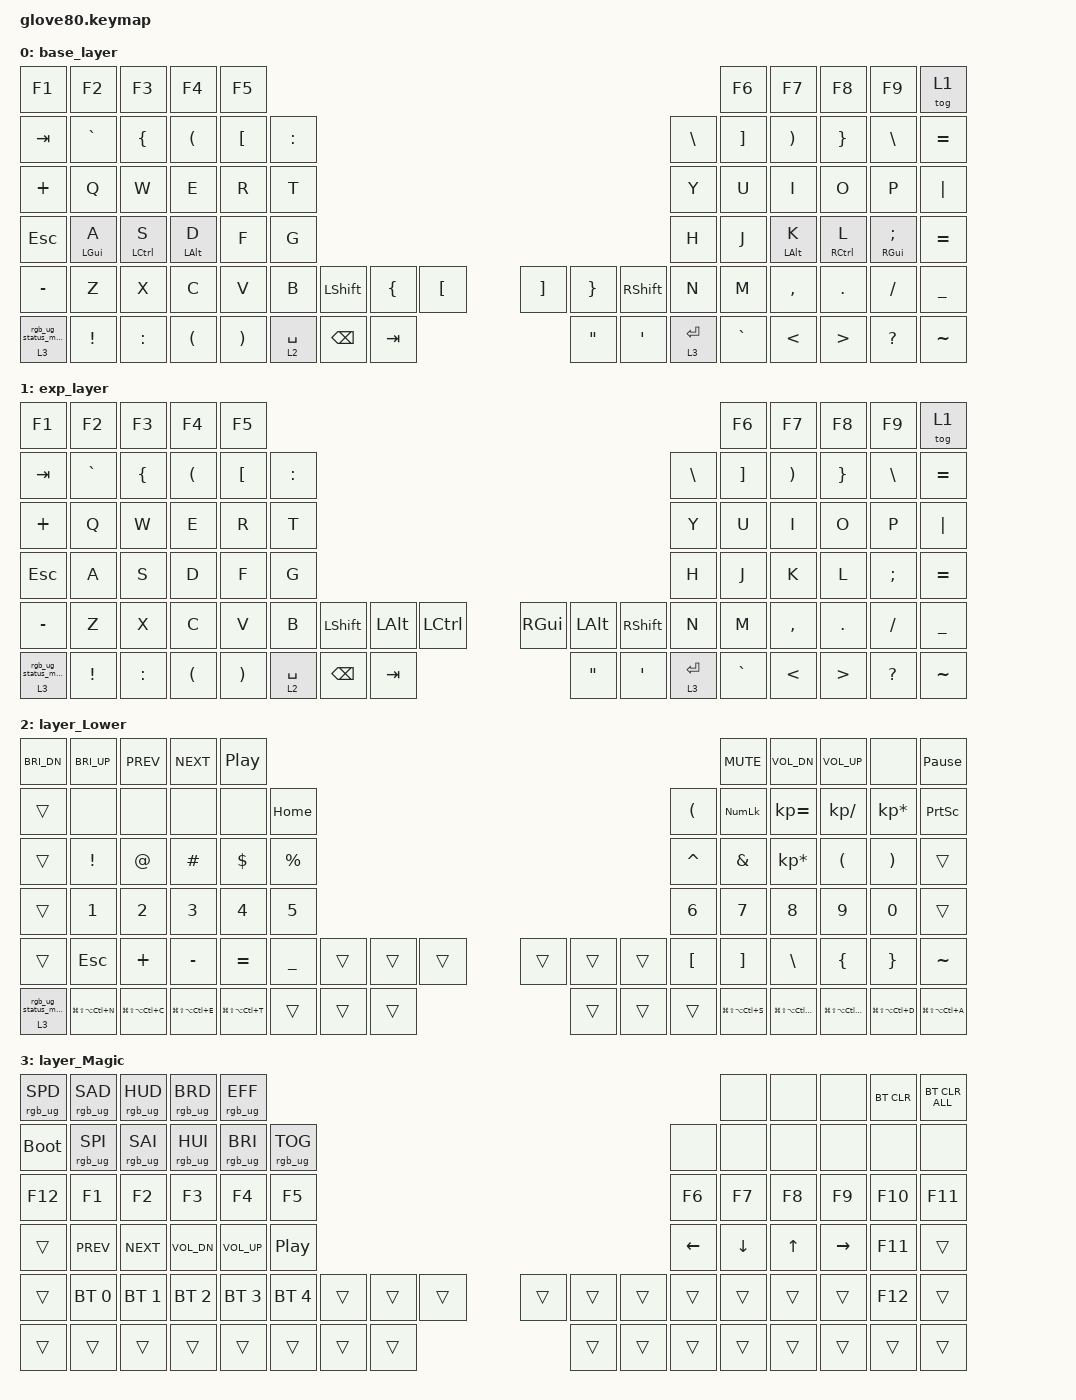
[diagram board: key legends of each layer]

/*
 * Copyright (c) 2020 The ZMK Contributors
 * Copyright (c) 2022 Innaworks Development Limited, trading as MoErgo
 *
 * SPDX-License-Identifier: MIT
 */


/* THIS FILE WAS GENERATED BY GLOVE80 LAYOUT EDITOR
 *
 * This file was generated automatically. You may or may not want to
 * edit it directly.
 */

#include <behaviors.dtsi>
/* Include all behaviour includes needed by system behaviors/macros */
#include <dt-bindings/zmk/outputs.h>

/* Include behaviour includes needed by key binds - automatically generated */
#include <dt-bindings/zmk/keys.h>
#include <dt-bindings/zmk/bt.h>
#include <dt-bindings/zmk/rgb.h>
#include <dt-bindings/zmk/outputs.h>


/ {
    /* Glove80 system behavior & macros */
    behaviors {
        // For the "layer" key, it'd nice to be able to use it as either a shift or a toggle.
        // Configure it as a tap dance, so the first tap (or hold) is a &mo and the second tap is a &to
        lower: tap_dance_0 {
            compatible = "zmk,behavior-tap-dance";
            label = "LAYER_TAP_DANCE";
            #binding-cells = <0>;
            tapping-term-ms = <200>;
            bindings = <&mo 1>, <&to 1>;
        };

        bhm: homerow_mods {
            compatible = "zmk,behavior-hold-tap";
            label = "HOMEROW_MODS";
            #binding-cells = <2>;
            tapping-term-ms = <170>;
            flavor = "tap-preferred";
            bindings = <&kp>, <&kp>;
        };

        shm: shift_hr_mod {
            compatible = "zmk,behavior-hold-tap";
            label = "SHIFT_HOMEROW_MODS";
            #binding-cells = <2>;
            tapping-term-ms = <120>;
            flavor = "tap-preferred";
            bindings = <&kp>, <&kp>;
        };
    };

    macros {
        rgb_ug_status_macro: rgb_ug_status_macro_0 {
            label = "RGB_UG_STATUS";
            compatible = "zmk,behavior-macro";
            #binding-cells = <0>;
            bindings
                = <&rgb_ug RGB_STATUS>;
        };
    };

    /* macros { */
    /*     bt_0: bt_profile_macro_0 { */
    /*         label = "BT_0"; */
    /*         compatible = "zmk,behavior-macro"; */
    /*         #binding-cells = <0>; */
    /*         bindings */
    /*             = <&out OUT_BLE>, */
    /*               <&bt BT_SEL 0>; */
    /*     }; */
    /* }; */

    /* macros { */
    /*     bt_1: bt_profile_macro_1 { */
    /*         label = "BT_1"; */
    /*         compatible = "zmk,behavior-macro"; */
    /*         #binding-cells = <0>; */
    /*         bindings */
    /*             = <&out OUT_BLE>, */
    /*               <&bt BT_SEL 1>; */
    /*     }; */
    /* }; */

    /* macros { */
    /*     bt_2: bt_profile_macro_2 { */
    /*         label = "BT_2"; */
    /*         compatible = "zmk,behavior-macro"; */
    /*         #binding-cells = <0>; */
    /*         bindings */
    /*             = <&out OUT_BLE>, */
    /*               <&bt BT_SEL 2>; */
    /*     }; */
    /* }; */

    /* macros { */
    /*     bt_3: bt_profile_macro_3 { */
    /*         label = "BT_3"; */
    /*         compatible = "zmk,behavior-macro"; */
    /*         #binding-cells = <0>; */
    /*         bindings */
    /*             = <&out OUT_BLE>, */
    /*               <&bt BT_SEL 3>; */
    /*     }; */
    /* }; */

    magic: magic_hold_tap {
        compatible = "zmk,behavior-hold-tap";
        label = "MAGIC_HOLD_TAP";
        #binding-cells = <2>;
        flavor = "tap-preferred";
        tapping-term-ms = <200>;
        bindings = <&mo>, <&rgb_ug_status_macro>;
    };

    /* Custom Defined Behaviors */


    /* Automatically generated keymap */
    keymap {
        compatible = "zmk,keymap";


        base_layer {
            bindings = <
     &kp F1    &kp F2   &kp F3    &kp F4     &kp F5                                                                                  &kp F6     &kp F7    &kp F8    &kp F9    &tog 1
  &kp TAB    &kp GRAVE   &kp LBRC    &kp LPAR     &kp LBKT  &kp COLON                                                                  &kp BSLH  &kp RBKT     &kp RPAR    &kp RBRC    &kp BSLH  &kp EQUAL
    &kp PLUS     &kp Q    &kp W     &kp E      &kp R   &kp T                                                                   &kp Y   &kp U      &kp I     &kp O     &kp P   &kp PIPE
    &kp ESC     &bhm LGUI A &bhm LCTRL S &bhm LALT D    &kp F &kp G                                                   &kp H &kp J  &bhm LALT K  &bhm RCTRL L  &bhm RGUI SEMI &kp EQUAL
  &kp MINUS     &kp Z    &kp X     &kp C      &kp V   &kp B  &kp LSHIFT  &kp LBRC    &kp LBKT  &kp RBKT  &kp RBRC  &kp RSHIFT   &kp N   &kp M  &kp COMMA   &kp DOT  &kp FSLH  &kp UNDER
 &magic 3 0  &kp EXCL  &kp COLON  &kp LPAR  &kp RPAR           &lt 2 SPACE &kp BSPC   &kp TAB   &kp DQT &kp SQT &lt 3 ENTER          &kp GRAVE &kp LT &kp GT &kp QMARK &kp TILDE
            >;
        };

        exp_layer {
            bindings = <
                &kp F1    &kp F2   &kp F3    &kp F4     &kp F5                                                                                  &kp F6     &kp F7    &kp F8    &kp F9    &tog 1
  &kp TAB    &kp GRAVE   &kp LBRC    &kp LPAR     &kp LBKT  &kp COLON                                                                  &kp BSLH  &kp RBKT     &kp RPAR    &kp RBRC    &kp BSLH  &kp EQUAL
    &kp PLUS     &kp Q    &kp W     &kp E      &kp R   &kp T                                                                   &kp Y   &kp U      &kp I     &kp O     &kp P   &kp PIPE
    &kp ESC     &kp A &kp S &kp D    &kp F &kp G                                                   &kp H &kp J  &kp K  &kp L  &kp SEMI &kp EQUAL
  &kp MINUS     &kp Z    &kp X     &kp C      &kp V   &kp B  &kp LSHIFT  &kp LALT    &kp LCTRL  &kp RGUI  &kp LALT  &kp RSHIFT   &kp N   &kp M  &kp COMMA   &kp DOT  &kp FSLH  &kp UNDER
 &magic 3 0  &kp EXCL  &kp COLON  &kp LPAR  &kp RPAR           &lt 2 SPACE &kp BSPC   &kp TAB   &kp DQT &kp SQT &lt 3 ENTER          &kp GRAVE &kp LT &kp GT &kp QMARK &kp TILDE
            >;
        };

        layer_Lower {
            bindings = <
 &kp C_BRI_DN  &kp C_BRI_UP      &kp C_PREV      &kp C_NEXT         &kp C_PP                                                                                    &kp C_MUTE  &kp C_VOL_DN  &kp C_VOL_UP            &none  &kp PAUSE_BREAK
       &trans         &none           &none           &none            &none   &kp HOME                                                   &kp LEFT_PARENTHESIS  &kp KP_NUM  &kp KP_EQUAL  &kp KP_SLASH  &kp KP_MULTIPLY  &kp PRINTSCREEN
       &trans         &kp EXCL        &kp AT          &kp HASH        &kp DLLR &kp PRCNT                                                  &kp CARET &kp AMPS  &kp KP_MULTIPLY &kp LPAR &kp RPAR &trans
       &trans  &kp N1   &kp N2 &kp N3   &kp N4   &kp N5                                                                                    &kp N6 &kp N7 &kp N8  &kp N9 &kp N0 &trans
       &trans  &kp ESC   &kp PLUS &kp MINUS   &kp EQUAL   &kp UNDER  &trans  &trans   &trans  &trans  &trans  &trans              &kp LBKT &kp RBKT  &kp BSLH     &kp LBRC &kp RBRC &kp TILDE
   &magic 3 0      &kp LG(LS(LA(LC(N))))         &kp LG(LS(LA(LC(C))))         &kp LG(LS(LA(LC(E))))          &kp LG(LS(LA(LC(T))))             &trans  &trans  &trans  &trans  &trans  &trans                          &kp LG(LS(LA(LC(S))))     &kp LG(LS(LA(LC(W))))    &kp LG(LS(LA(LC(M))))     &kp LG(LS(LA(LC(D))))       &kp LG(LS(LA(LC(A))))
            >;
        };

        layer_Magic {
            bindings = <
              &rgb_ug RGB_SPD  &rgb_ug RGB_SAD  &rgb_ug RGB_HUD  &rgb_ug RGB_BRD  &rgb_ug RGB_EFF                                               &none   &none   &none   &bt BT_CLR  &bt BT_CLR_ALL
      &bootloader  &rgb_ug RGB_SPI  &rgb_ug RGB_SAI  &rgb_ug RGB_HUI  &rgb_ug RGB_BRI  &rgb_ug RGB_TOG                                                         &none   &none   &none   &none   &none           &none
       &kp F12 &kp F1 &kp F2 &kp F3 &kp F4 &kp F5                                                         &kp F6 &kp F7 &kp F8 &kp F9 &kp F10 &kp F11
 &trans &kp C_PREV  &kp C_NEXT   &kp C_VOL_DN &kp C_VOL_UP &kp C_PP                                                         &kp LEFT &kp DOWN &kp UP &kp RIGHT &kp F11 &trans
      &trans &bt BT_SEL 0 &bt BT_SEL 1 &bt BT_SEL 2 &bt BT_SEL 3 &bt BT_SEL 4   &trans &trans         &trans   &trans   &trans   &trans   &trans &trans &trans &trans  &kp F12  &trans
       &trans            &trans            &trans            &trans            &trans                    &trans   &trans  &trans &trans   &trans   &trans           &trans   &trans   &trans   &trans           &trans
            >;
        };
    };
};
